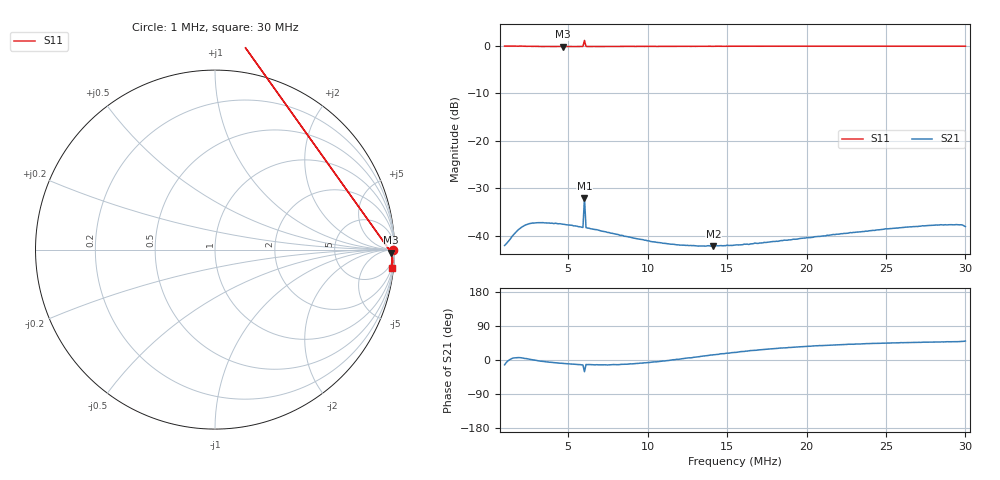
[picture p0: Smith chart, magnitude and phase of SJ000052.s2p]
!File created by NanoVNA-F V2
# Hz S RI R 50
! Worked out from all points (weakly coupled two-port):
!   301 points, 1 MHz to 30 MHz, reference 50 ohm
!   highest |S21| = -32.02 dB at 6.027 MHz (marker M1); lowest = -42.2 dB at 14.15 MHz (marker M2)
!   lowest |S11| = -0.2 dB at 4.673 MHz (marker M3), VSWR 104.85, Z = 2.8e+03 - j2.62e+03 ohm
!   |S11| at or under -10 dB: nowhere
!   S12 and S22 are empty: the file has one direction only
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1000000  0.9935 -0.00256  0.0077 -0.00175  0 0  0 0
1869994  0.9907 -0.00906  0.0115 0.00129  0 0  0 0
2353324  0.9876 -0.0132  0.013 0.000879  0 0  0 0
3126652  0.9843 -0.017  0.0137 -0.000525  0 0  0 0
4673308  0.9809 -0.0175  0.0131 -0.00209  0 0  0 0
5833300  0.9832 -0.0188  0.012 -0.00271  0 0  0 0
5929966  0.9842 -0.0196  0.0119 -0.0028  0 0  0 0
6026632  0.169 1.125  0.0215 -0.0129  0 0  0 0
6123298  0.9843 -0.0192  0.0119 -0.00249  0 0  0 0
8539948  0.983 -0.0265  0.00968 -0.00197  0 0  0 0
1.06666e7  0.9852 -0.0334  0.00847 -0.000632  0 0  0 0
1.201992e7  0.9868 -0.0361  0.00797 0.000332  0 0  0 0
1.414658e7  0.9866 -0.0444  0.00754 0.00186  0 0  0 0
1.54999e7  0.9887 -0.0495  0.00754 0.0027  0 0  0 0
1.636989e7  0.9872 -0.0514  0.00738 0.00331  0 0  0 0
1.675656e7  0.9882 -0.0547  0.00755 0.00365  0 0  0 0
1.694989e7  0.9876 -0.0541  0.00743 0.0037  0 0  0 0
2.03332e7  0.9871 -0.066  0.00768 0.00575  0 0  0 0
2.51665e7  0.9882 -0.084  0.00842 0.00833  0 0  0 0
2.845314e7  0.9861 -0.0981  0.0088 0.00966  0 0  0 0
2.97098e7  0.9859 -0.1036  0.00859 0.00983  0 0  0 0
2.99998e7  0.9857 -0.1038  0.00805 0.00956  0 0  0 0
